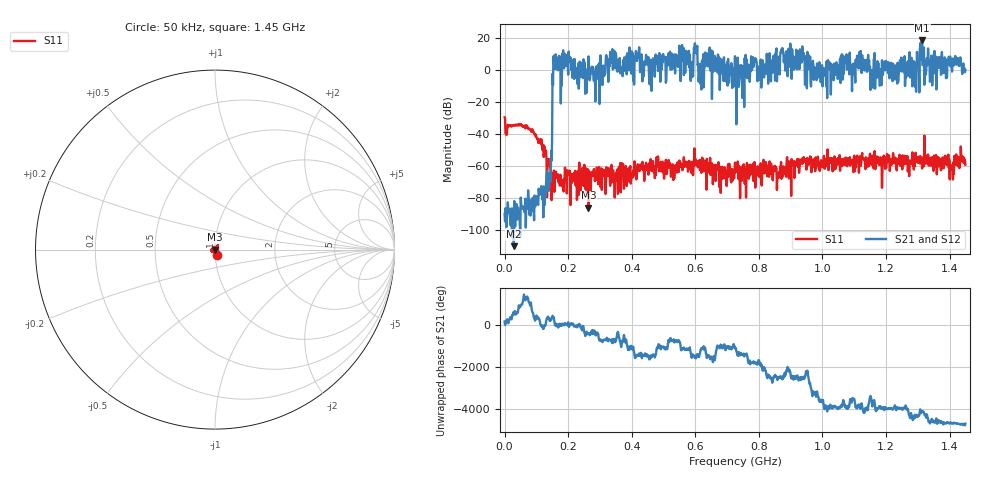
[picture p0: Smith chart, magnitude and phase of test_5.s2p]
! Created with skrf 1.11.0 (http://scikit-rf.org).
# Hz S RI R 50.0
!freq ReS11 ImS11 ReS21 ImS21 ReS12 ImS12 ReS22 ImS22
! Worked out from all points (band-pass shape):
!   1001 points, 50 kHz to 1.45 GHz, reference 50 ohm
!   highest |S21| = 18.50 dB at 1.314 GHz (marker M1); lowest = -110.0 dB at 29.05 MHz (marker M2)
!   |S21| within 3 dB of the highest: 558.2452 MHz to 558.3476 MHz (102.4 kHz wide, 0.0183 % of centre); 598.5755 MHz to 599.1678 MHz (592.3 kHz wide, 0.0989 % of centre) (the widest 2 of 5)
!   lowest |S11| = -86.0 dB at 263.9 MHz (marker M3), VSWR 1.00, Z = 50 + j0.0037 ohm
!   |S11| at or under -10 dB: start of sweep to end of sweep
!   |S22| runs from - to - dB; largest |S21 - S12| = 0
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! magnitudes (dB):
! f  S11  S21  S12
! 50 kHz  -29.5  -89.8  -89.8
! 29.05 MHz  -34.3  -110.0  -110.0
! 92.85 MHz  -39.8  -93.8  -93.8
! 137.8 MHz  -55.9  -71.5  -71.5
! 142.1 MHz  -60.2  -67.6  -67.6
! 153.7 MHz  -74.3  8.5  8.5
! 161 MHz  -63.4  9.8  9.8
! 242.2 MHz  -63.4  -2.8  -2.8
! 263.9 MHz  -86.0  8.5  8.5
! 339.3 MHz  -63.6  13.1  13.1
! 484.3 MHz  -58.3  3.0  3.0
! 587.3 MHz  -59.7  0.7  0.7
! 601.8 MHz  -55.8  11.0  11.0
! 614.8 MHz  -62.6  3.6  3.6
! 638 MHz  -64.4  3.3  3.3
! 725 MHz  -57.8  8.6  8.6
! 874.4 MHz  -63.2  13.8  13.8
! 967.2 MHz  -61.0  3.2  3.2
! 1.209 GHz  -53.3  0.2  0.2
! 1.289 GHz  -56.9  -2.2  -2.2
! 1.314 GHz  -61.4  18.5  18.5
! 1.45 GHz  -59.1  -0.1  -0.1
